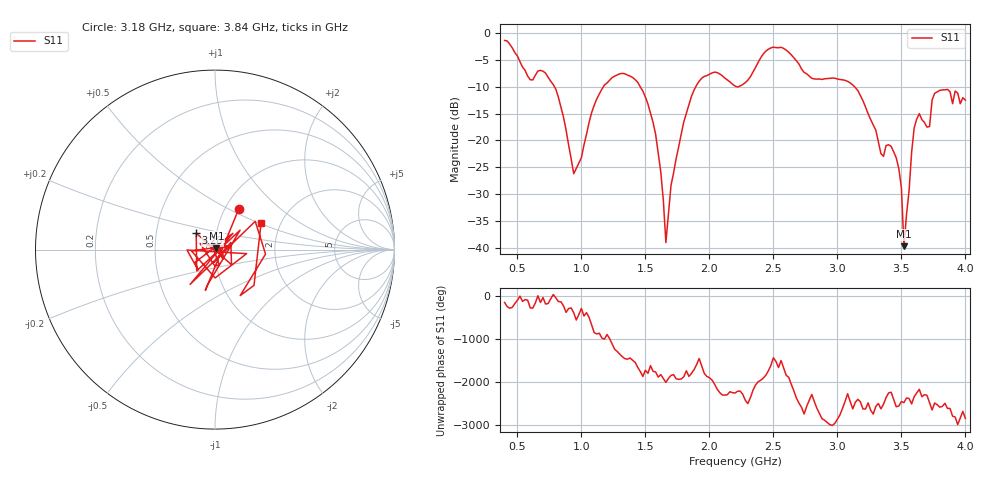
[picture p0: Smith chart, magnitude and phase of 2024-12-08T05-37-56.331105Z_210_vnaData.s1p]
!Created with skrf (http://scikit-rf.org).
# Hz S RI R 50.0
!freq ReS11 ImS11
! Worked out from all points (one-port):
!   181 points, 400 MHz to 4 GHz, reference 50 ohm
!   lowest |S11| = -39.7 dB at 3.52 GHz (marker M1), VSWR 1.02, Z = 50.7 + j0.734 ohm
!   |S11| at or under -10 dB: 789.2 MHz to 1.172 GHz (383 MHz wide, 39.1 % of centre); 1.459 GHz to 1.894 GHz (434.9 MHz wide, 25.9 % of centre); 3.133 GHz to end of sweep (the widest 3 of 4)
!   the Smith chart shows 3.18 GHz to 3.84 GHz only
!   S11 on the Smith chart (normalised r, x): 3.18 GHz: 1.16, +0.56; 3.28 GHz: 0.80, +0.15; 3.84 GHz: 1.59, +0.51
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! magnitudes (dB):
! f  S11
! 400 MHz  -1.4
! 600 MHz  -8.7
! 720 MHz  -7.5
! 860 MHz  -15.7
! 940 MHz  -26.2
! 1.12 GHz  -12.3
! 1.3 GHz  -7.6
! 1.56 GHz  -16.7
! 1.62 GHz  -25.8
! 1.66 GHz  -39.0
! 1.7 GHz  -28.4
! 1.76 GHz  -21.2
! 1.94 GHz  -8.4
! 2.2 GHz  -9.9
! 2.48 GHz  -2.8
! 2.66 GHz  -4.6
! 3.1 GHz  -9.3
! 3.18 GHz  -11.7
! 3.28 GHz  -17.1
! 3.46 GHz  -23.3
! 3.5 GHz  -28.8
! 3.52 GHz  -39.7
! 3.56 GHz  -29.4
! 3.62 GHz  -16.0
! 3.72 GHz  -17.4
! 3.76 GHz  -11.2
! 3.84 GHz  -10.6
! 4 GHz  -12.5
